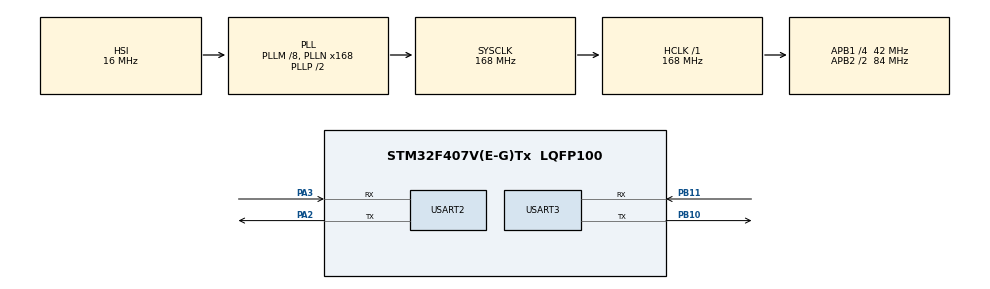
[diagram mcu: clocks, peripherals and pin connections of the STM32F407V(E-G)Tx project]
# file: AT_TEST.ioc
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Mcu.Family=STM32F4
Mcu.Name=STM32F407V(E-G)Tx
Mcu.Package=LQFP100
NVIC.PriorityGroup=NVIC_PRIORITYGROUP_4
NVIC.USART2_IRQn=true\:0\:0\:false\:false\:true\:true\:true
NVIC.USART3_IRQn=true\:0\:0\:false\:false\:true\:true\:true
PA13.Mode=Serial_Wire
PA13.Signal=SYS_JTMS-SWDIO
PA14.Mode=Serial_Wire
PA14.Signal=SYS_JTCK-SWCLK
PA2.Mode=Asynchronous
PA2.Signal=USART2_TX
PA3.Mode=Asynchronous
PA3.Signal=USART2_RX
PB10.Mode=Asynchronous
PB10.Signal=USART3_TX
PB11.Mode=Asynchronous
PB11.Signal=USART3_RX
PH0-OSC_IN.Mode=HSE-External-Oscillator
PH0-OSC_IN.Signal=RCC_OSC_IN
PH1-OSC_OUT.Mode=HSE-External-Oscillator
PH1-OSC_OUT.Signal=RCC_OSC_OUT
ProjectManager.HeapSize=0x200
ProjectManager.StackSize=0x400
ProjectManager.TargetToolchain=MDK-ARM V5
RCC.48MHZClocksFreq_Value=84000000
RCC.AHBFreq_Value=168000000
RCC.APB1CLKDivider=RCC_HCLK_DIV4
RCC.APB1Freq_Value=42000000
RCC.APB1TimFreq_Value=84000000
RCC.APB2CLKDivider=RCC_HCLK_DIV2
RCC.APB2Freq_Value=84000000
RCC.APB2TimFreq_Value=168000000
RCC.CortexFreq_Value=168000000
RCC.HCLKFreq_Value=168000000
RCC.HSE_VALUE=25000000
RCC.HSI_VALUE=16000000
RCC.LSE_VALUE=32768
RCC.PLLM=8
RCC.PLLN=168
RCC.SYSCLKFreq_VALUE=168000000
RCC.SYSCLKSource=RCC_SYSCLKSOURCE_PLLCLK
RCC.VCOOutputFreq_Value=336000000
USART2.VirtualMode=VM_ASYNC
USART3.VirtualMode=VM_ASYNC
board=custom

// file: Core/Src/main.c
/* USER CODE BEGIN Header */
/**
  ******************************************************************************
  * @file           : main.c
  * @brief          : Main program body
  ******************************************************************************
  * @attention
  *
  * Copyright (c) 2025 STMicroelectronics.
  * All rights reserved.
  *
  * This software is licensed under terms that can be found in the LICENSE file
  * in the root directory of this software component.
  * If no LICENSE file comes with this software, it is provided AS-IS.
  *
  ******************************************************************************
  */
/* USER CODE END Header */
#include "main.h"
#include "usart.h"
#include "gpio.h"

/* USER CODE BEGIN Includes */
#include <string.h>
#include <stdio.h>
#define RXBUFFERSIZE  256     //最大接收字节数
char RxBuffer[RXBUFFERSIZE];   //接收数据
uint8_t aRxBuffer;			//接收中断缓冲
uint8_t Uart1_Rx_Cnt = 0;		//接收缓冲计数
/* USER CODE END Includes */

void SystemClock_Config(void);

int main(void)
{

  /* MCU Configuration--------------------------------------------------------*/

  /* Reset of all peripherals, Initializes the Flash interface and the Systick. */
  HAL_Init();

  /* Configure the system clock */
  SystemClock_Config();

  /* Initialize all configured peripherals */
  MX_GPIO_Init();
  MX_USART2_UART_Init();
  MX_USART3_UART_Init();
  /* USER CODE BEGIN 2 */
	HAL_UART_Receive_IT(&huart2, (uint8_t *)&aRxBuffer, 1);
	//HAL_UART_Transmit(&huart2, (uint8_t *)"AT\r\n", 4, 0xFFFF);
	HAL_Delay(2000);
	HAL_UART_Transmit(&huart2, (uint8_t *)"AT+CWMODE=1\r\n", 13, 0xFFFF);
	HAL_Delay(2000);
	HAL_UART_Transmit(&huart2, (uint8_t *)"AT+CWJAP=\"RK50U\",\"12345678\"\r\n", 29, 0xFFFF);
	HAL_Delay(2000);
	HAL_UART_Transmit(&huart2, (uint8_t *)"AT+SYSTIMESTAMP?\r\n", 18, 0xFFFF);
	HAL_Delay(2000);
	HAL_UART_Transmit(&huart2, (uint8_t *)"AT+SYSTIMESTAMP?\r\n", 18, 0xFFFF);
  /* USER CODE END 2 */

  /* Infinite loop */
  while (1)
  {

  }
}

void SystemClock_Config(void)
{
  RCC_OscInitTypeDef RCC_OscInitStruct = {0};
  RCC_ClkInitTypeDef RCC_ClkInitStruct = {0};

  /** Configure the main internal regulator output voltage
  */
  __HAL_RCC_PWR_CLK_ENABLE();
  __HAL_PWR_VOLTAGESCALING_CONFIG(PWR_REGULATOR_VOLTAGE_SCALE1);
  /** Initializes the RCC Oscillators according to the specified parameters
  * in the RCC_OscInitTypeDef structure.
  */
  RCC_OscInitStruct.OscillatorType = RCC_OSCILLATORTYPE_HSI;
  RCC_OscInitStruct.HSIState = RCC_HSI_ON;
  RCC_OscInitStruct.HSICalibrationValue = RCC_HSICALIBRATION_DEFAULT;
  RCC_OscInitStruct.PLL.PLLState = RCC_PLL_ON;
  RCC_OscInitStruct.PLL.PLLSource = RCC_PLLSOURCE_HSI;
  RCC_OscInitStruct.PLL.PLLM = 8;
  RCC_OscInitStruct.PLL.PLLN = 168;
  RCC_OscInitStruct.PLL.PLLP = RCC_PLLP_DIV2;
  RCC_OscInitStruct.PLL.PLLQ = 4;
  if (HAL_RCC_OscConfig(&RCC_OscInitStruct) != HAL_OK)
  {
    Error_Handler();
  }
  /** Initializes the CPU, AHB and APB buses clocks
  */
  RCC_ClkInitStruct.ClockType = RCC_CLOCKTYPE_HCLK|RCC_CLOCKTYPE_SYSCLK
                              |RCC_CLOCKTYPE_PCLK1|RCC_CLOCKTYPE_PCLK2;
  RCC_ClkInitStruct.SYSCLKSource = RCC_SYSCLKSOURCE_PLLCLK;
  RCC_ClkInitStruct.AHBCLKDivider = RCC_SYSCLK_DIV1;
  RCC_ClkInitStruct.APB1CLKDivider = RCC_HCLK_DIV4;
  RCC_ClkInitStruct.APB2CLKDivider = RCC_HCLK_DIV2;

  if (HAL_RCC_ClockConfig(&RCC_ClkInitStruct, FLASH_LATENCY_5) != HAL_OK)
  {
    Error_Handler();
  }
}

/* USER CODE BEGIN 4 */
/* USER CODE BEGIN 4 */

void HAL_UART_RxCpltCallback(UART_HandleTypeDef *huart)
{
  /* Prevent unused argument(s) compilation warning */
  UNUSED(huart);
  /* NOTE: This function Should not be modified, when the callback is needed,
           the HAL_UART_TxCpltCallback could be implemented in the user file
   */

	if(Uart1_Rx_Cnt >= 255)  //溢出判断
	{
		Uart1_Rx_Cnt = 0;
		memset(RxBuffer,0x00,sizeof(RxBuffer));
	}
	else
	{
		RxBuffer[Uart1_Rx_Cnt++] = aRxBuffer;   //接收数据转存

		if((RxBuffer[Uart1_Rx_Cnt-1] == 0x0A)&&(RxBuffer[Uart1_Rx_Cnt-2] == 0x0D)&&(RxBuffer[Uart1_Rx_Cnt-3] == 'K')&&(RxBuffer[Uart1_Rx_Cnt-4] == 'O')) //判断结束位
		{
			printf("Receive: %s\r\n", RxBuffer);
			Uart1_Rx_Cnt = 0;
			memset(RxBuffer,0x00,sizeof(RxBuffer)); //清空数组
		}
		else if ((RxBuffer[Uart1_Rx_Cnt - 1] == 0x0A)&&(RxBuffer[Uart1_Rx_Cnt-2] == 0x0D)&&(RxBuffer[Uart1_Rx_Cnt-3] == 'R')&&(RxBuffer[Uart1_Rx_Cnt-4] == 'O')
					&&(RxBuffer[Uart1_Rx_Cnt-5] == 'R')&&(RxBuffer[Uart1_Rx_Cnt-6] == 'R')&&(RxBuffer[Uart1_Rx_Cnt-7] == 'E'))
		{
				printf("接收ERROR: %s\r\n", RxBuffer);
				Uart1_Rx_Cnt = 0;
				memset(RxBuffer,0x00,sizeof(RxBuffer)); //清空数组
		}
	}

	HAL_UART_Receive_IT(&huart2, (uint8_t *)&aRxBuffer, 1);   //再开启接收中断
}
/* USER CODE END 4 */
/* USER CODE END 4 */

void Error_Handler(void)
{
  __disable_irq();
  while (1)
  {
  }
}
